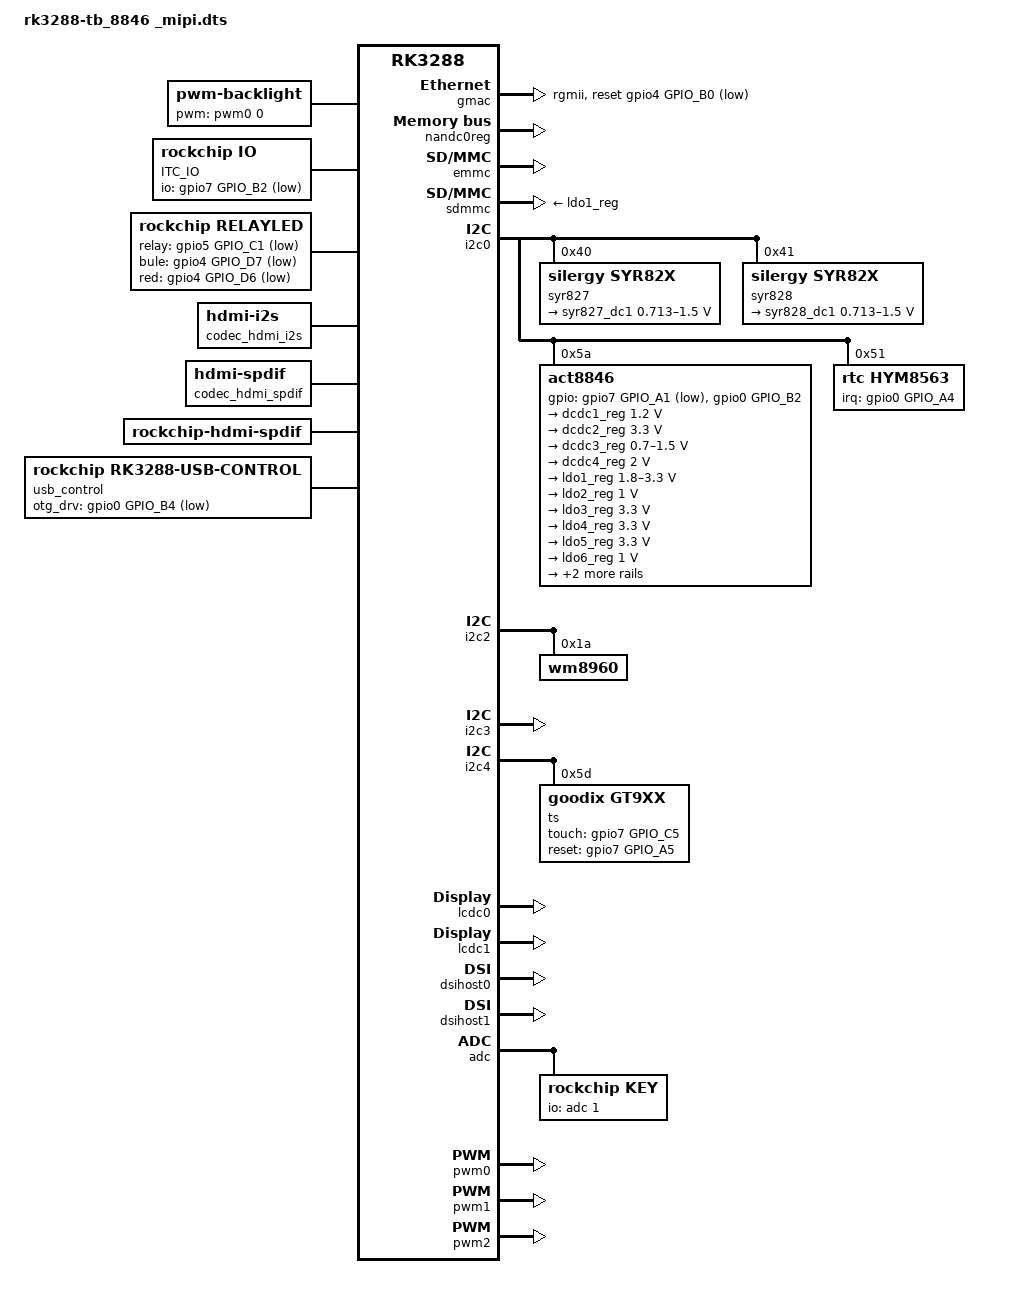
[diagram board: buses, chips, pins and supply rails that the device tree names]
/dts-v1/;

#include "rk3288.dtsi"
#include "lcd-tv101wum-mipi.dtsi"  //for 10.1 mipi
//#include "lcd-HR215WU1-120-lvds.dtsi"
#include "vtl_ts_sdk8846.dtsi"
//#include "lcd-box.dtsi" // for hdmi
#include "rk3288-cif-sensor.dtsi"

/ {
	fiq-debugger {
		status = "okay";
	};

    wireless-wlan {
        compatible = "wlan-platdata";

		wifi_chip_type = "rtl8188eu";

        sdio_vref = <1800>; //1800mv or 3300mv

        //keep_wifi_power_on;

        //power_ctrl_by_pmu;
        power_pmu_regulator = "act_ldo3";
        power_pmu_enable_level = <1>; //1->HIGH, 0->LOW

        //vref_ctrl_enable;
        //vref_ctrl_gpio = <&gpio0 GPIO_A2 GPIO_ACTIVE_HIGH>;
        vref_pmu_regulator = "act_ldo3";
        vref_pmu_enable_level = <1>; //1->HIGH, 0->LOW

        //WIFI,poweren_gpio = <&gpio4 GPIO_D7 GPIO_ACTIVE_HIGH>;
        //WIFI,host_wake_irq = <&gpio4 GPIO_D6 GPIO_ACTIVE_HIGH>;
        //WIFI,reset_gpio = <&gpio0 GPIO_A2 GPIO_ACTIVE_LOW>;

        status = "disabled";
    };

	backlight {
		compatible = "pwm-backlight";
		pwms = <&pwm0 0 1000000>; //for 10.1 mipi
		//pwms = <&pwm0 0 25000>; // for hdmi 
		brightness-levels = <255 254 253 252 251 250 249 248 247 246 245 244 243 242 241 240
		     239 238 237 236 235 234 233 232 231 230 229 228 227 226 225 224 223 222 221 220
		     219 218 217 216 215 214 213 212 211 210 209 208 207 206 205 204 203 202 201 200
		     199 198 197 196 195 194 193 192 191 190 189 188 187 186 185 184 183 182 181 180
		     179 178 177 176 175 174 173 172 171 170 169 168 167 166 165 164 163 162 161 160
		     159 158 157 156 155 154 153 152 151 150 149 148 147 146 145 144 143 142 141 140
		     139 138 137 136 135 134 133 132 131 130 129 128 127 126 125 124 123 122 121 120
		     119 118 117 116 115 114 113 112 111 110 109 108 107 106 105 104 103 102 101 100
		     99 98 97 96 95 94 93 92 91 90 89 88 87 86 85 84 83 82 81 80 79 78 77 76 75 74 73 72 71 70
		     69 68 67 66 65 64 63 62 61 60 59 58 57 56 55 54 53 52 51 50 49 48 47 46 45 44 43 42 41 40
		     39 38 37 36 35 34 33 32 31 30 29 28 27 26 25 24 23 22 21 20 19 18 17 16 15 14 13 12 11 10
		     9 8 7 6 5 4 3 2 1 0>;
		default-brightness-level = <200>;
		//enable-gpios = <&gpio7 GPIO_A0 GPIO_ACTIVE_HIGH>;
	};

  	ITC_IO: itc_io{

  		compatible = "rockchip,IO";
  		pinctrl-names = "default";  
		pinctrl-0 = <&gpio_io_z>;
		io-gpio = <&gpio7 GPIO_B2 GPIO_ACTIVE_LOW>;
  	};

  	RelayLed: relay_led{

  		compatible = "rockchip,RelayLed";
		relay-gpio = <&gpio5 GPIO_C1 GPIO_ACTIVE_LOW>;
		bule-gpio = <&gpio4 GPIO_D7 GPIO_ACTIVE_LOW>;
		red-gpio = <&gpio4 GPIO_D6 GPIO_ACTIVE_LOW>;
  	};
  	
	codec_hdmi_i2s: codec-hdmi-i2s {
		compatible = "hdmi-i2s";
	};

	codec_hdmi_spdif: codec-hdmi-spdif {
		compatible = "hdmi-spdif";
	};

	rockchip-hdmi-i2s {
		compatible = "rockchip-hdmi-i2s";
		dais {
			dai0 {
				audio-codec = <&codec_hdmi_i2s>;
				audio-controller = <&i2s>;
				format = "i2s";
				//continuous-clock;
				//bitclock-inversion;
				//frame-inversion;
				//bitclock-master;
				//frame-master;
			};
		};
	};
	
	rockchip-hdmi-spdif {
		compatible = "rockchip-hdmi-spdif";
		dais {
			dai0 {
				audio-codec = <&codec_hdmi_spdif>;
				audio-controller = <&spdif>;
			};
		};
	};


	//for 10.1 mipi
	rockchip-wm8960 {
		compatible = "rockchip-wm8960";
		dais {
			dai0 {
				audio-codec = <&wm8960>;
				audio-controller = <&i2s>;
				format = "i2s";
				//continuous-clock;
				//bitclock-inversion;
				//frame-inversion;
				//bitclock-master;
				//frame-master;
			};
		};
	};


	usb_control {
		compatible = "rockchip,rk3288-usb-control";

		//host_drv_gpio = <&gpio0 GPIO_B6 GPIO_ACTIVE_LOW>;
		otg_drv_gpio = <&gpio0 GPIO_B4 GPIO_ACTIVE_LOW>;

		rockchip,remote_wakeup;
		rockchip,usb_irq_wakeup;
	};
        chosen {
                bootargs = "vmalloc=512M";
        };
};

&gmac_clkin {
        clock-frequency = <125000000>;
};

&gmac {
//	power_ctl_by = "gpio";	//"gpio" "pmu"
//	power-gpio = <&gpio0 GPIO_A6 GPIO_ACTIVE_HIGH>;
//	power-pmu = "act_ldo"

	//rk3288 for rtl8211EG
	reset-gpio = <&gpio4 GPIO_B0 GPIO_ACTIVE_LOW>;
    phy-mode = "rgmii";
    clock_in_out = "input";
    tx_delay = <0x28>;
	rx_delay = <0x06>;

	status = "okay"; //if want to use gmac, please set "okay"
};

&pinctrl {
	//used for init some gpio
	
	init-gpios = <&gpio0 GPIO_A6 GPIO_ACTIVE_HIGH
			/*&gpio0 GPIO_C2 GPIO_ACTIVE_HIGH */
			/*&gpio7 GPIO_B7 GPIO_ACTIVE_LOW */>;
	
	gpio0_gpio {
			gpio0_c2: gpio0-c2 {
				rockchip,pins = <GPIO0_C2>;
				rockchip,pull = <VALUE_PULL_DOWN>;
			};

			//to add
		};
/*
	gpio7_gpio {

		gpio7_a7: gpio7-a7 {
			rockchip,pins = <GPIO7_A7>;
			rockchip,pull = <VALUE_PULL_DOWN>;
		};
*/

	gpio7_gpio {
			gpio7_b7: gpio7-b7 {
				rockchip,pins = <GPIO7_B7>;
				rockchip,pull = <VALUE_PULL_UP>;
	};

		//to add

		//wjs add
		gpio_io_z: gpio-io1{  

			rockchip,pins = <GPIO7_B2>;
			rockchip,pull = <VALUE_PULL_KEEP>;
			rockchip,tristate = <VALUE_TRI_TRUE>;

    	};

	    gpio7_c5: gpio7-c5 {

	    	rockchip,pins = <GPIO7_C5>;
	    	rockchip,pull = <VALUE_PULL_DISABLE>;
	    	rockchip,drive = <VALUE_DRV_DEFAULT>;
	    };

	    gpio7_a5: gpio7-a5 {

	    	rockchip,pins = <GPIO7_A5>;
	    	rockchip,pull = <VALUE_PULL_UP>;
	    	rockchip,drive = <VALUE_DRV_DEFAULT>;
	    };
	};
		
	//could add other pinctrl definition such as gpio

	// gmac drive strength
	gpio4_gmac {
		mac_clk: mac-clk {
			rockchip,drive = <VALUE_DRV_12MA>;
		};

		mac_txpins: mac-txpins {
			rockchip,drive = <VALUE_DRV_12MA>;
		};

		mac_rxpins: mac-rxpins {
			rockchip,drive = <VALUE_DRV_12MA>;
		};

		mac_crs: mac-crs {
			rockchip,drive = <VALUE_DRV_12MA>;
		};

		mac_mdpins: mac-mdpins {
			rockchip,drive = <VALUE_DRV_12MA>;
		};
	};
};

&nandc0 {
	status = "disabled"; // used nand set "disabled" ,used emmc set "okay"
};
&nandc1 {
	status = "disabled"; // used nand set "disabled" ,used emmc set "okay"
};   

&nandc0reg {
	status = "okay"; // used nand set "disabled" ,used emmc set "okay"
};

&emmc {
	clock-frequency = <100000000>;
	clock-freq-min-max = <400000 100000000>;

    supports-highspeed;
	supports-emmc;
    //supports-sd;
	bootpart-no-access;

	//supports-DDR_MODE; //you should set the two value in your project. only close in RK3288-SDK board.
	//caps2-mmc-hs200;

    ignore-pm-notify;
	keep-power-in-suspend;
	
	//poll-hw-reset 
	status = "okay";
};
    
&sdmmc {
		clock-frequency = <50000000>;
		clock-freq-min-max = <400000 50000000>;
		supports-highspeed;
		supports-sd;
		broken-cd;
		card-detect-delay = <200>;

		ignore-pm-notify;
        keep-power-in-suspend;
	
        vmmc-supply = <&ldo1_reg>;
		status = "okay";
};
		
&sdio {
		clock-frequency = <50000000>;
		clock-freq-min-max = <200000 50000000>;
		supports-highspeed;
		supports-sdio;
		ignore-pm-notify;
		keep-power-in-suspend;
		//cap-sdio-irq;
		status = "disabled";
};

&spi0 {
	status = "disabled";
	max-freq = <48000000>;	
	/*
	spi_test@00 {
 		compatible = "rockchip,spi_test_bus0_cs0";
        reg = <0>;
        spi-max-frequency = <24000000>;
        //spi-cpha;
		//spi-cpol;
        poll_mode = <0>;
        type = <0>;
		enable_dma = <0>;

	};

	spi_test@01 {
        compatible = "rockchip,spi_test_bus0_cs1";
        reg = <1>;
        spi-max-frequency = <24000000>;
        spi-cpha;
		spi-cpol;
        poll_mode = <0>;
        type = <0>;
		enable_dma = <0>;	        
	};
	*/
};

&spi1 {
	status = "disabled";
	max-freq = <48000000>;
	/*
	spi_test@10 {
        compatible = "rockchip,spi_test_bus1_cs0";
        reg = <0>;
        spi-max-frequency = <24000000>;
        //spi-cpha;
		//spi-cpol;
        poll_mode = <0>;
        type = <0>;
		enable_dma = <0>;
	};
	*/
};

&spi2 {
	status = "disabled";
	max-freq = <48000000>;
	/*
	spi_test@20 {
        compatible = "rockchip,spi_test_bus2_cs0";
        reg = <0>;
        spi-max-frequency = <24000000>;
        //spi-cpha;
		//spi-cpol;
        poll_mode = <0>;
        type = <0>;
		enable_dma = <0>;
	};

	spi_test@21 {
        compatible = "rockchip,spi_test_bus2_cs1";
        reg = <1>;
        spi-max-frequency = <24000000>;
        //spi-cpha;
		//spi-cpol;
        poll_mode = <0>;
        type = <0>;
		enable_dma = <0>;
	};
	*/
};

&i2c0 {
	status = "okay";
    syr827: syr827@40 {
		compatible = "silergy,syr82x";
        reg = <0x40>;
		status = "okay";
		regulators {
			#address-cells = <1>;
			#size-cells = <0>;	
			syr827_dc1: regulator@0 {
			reg = <0>;
			regulator-compatible = "syr82x_dcdc1";
			regulator-name = "vdd_arm";
			regulator-min-microvolt = <712500>;
			regulator-max-microvolt = <1500000>;
			regulator-always-on;
			regulator-boot-on;
			regulator-initial-mode = <0x2>;
			regulator-initial-state = <3>;
			regulator-state-mem {
				regulator-state-mode = <0x2>;
				regulator-state-disabled;
				regulator-state-uv = <900000>;
			};
		};
	   };
	};
	syr828: syr828@41 {
		compatible = "silergy,syr82x";
		reg = <0x41>;
		status = "okay";
		regulators {
			#address-cells = <1>;
			#size-cells = <0>;	
			syr828_dc1: regulator@0 {
			reg = <0>;
			regulator-compatible = "syr82x_dcdc1";
			regulator-name = "vdd_gpu";
			regulator-min-microvolt = <712500>;
			regulator-max-microvolt = <1500000>;
			regulator-always-on;
  			regulator-boot-on;
			regulator-initial-mode = <0x2>;
			regulator-initial-state = <3>;
			regulator-state-mem {
				regulator-state-mode = <0x2>;
				regulator-state-enabled;
				regulator-state-uv = <900000>;
			};	
		};
	   };
	};
	act8846: act8846@5a {
		reg = <0x5a>;
		status = "okay";
	};

	rtc@51 {
		compatible = "rtc,hym8563";
		reg = <0x51>;
		irq_gpio = <&gpio0 GPIO_A4 IRQ_TYPE_EDGE_FALLING>;
	};

	/*
	mpu6880_acc:mpu_acc@68{
		compatible = "mpu6880_acc";
		reg = <0x68>;
		irq_enable = <0>;
		poll_delay_ms = <30>;
		type = <SENSOR_TYPE_ACCEL>;
		layout = <7>;
	};
	mpu6880_gyro:mpu_gyro@68{
		compatible = "mpu6880_gyro";
		reg = <0x68>;
		//irq-gpio = <&gpio7 GPIO_B0 IRQ_TYPE_LEVEL_LOW>;
		irq_enable = <0>;
		poll_delay_ms = <30>;
		type = <SENSOR_TYPE_GYROSCOPE>;
		layout = <7>;
	};
	*/
};

&i2c1 {
	status = "disabled";

	rtc@51 {
		compatible = "nxp,pcf8563";
		reg = <0x51>;
	};

	mpu6050:mpu@68{
		compatible = "mpu6050";
		reg = <0x68>;
		mpu-int_config = <0x10>;
		mpu-level_shifter = <0>;
		mpu-orientation = <0 1 0 1 0 0 0 0 1>;	
		orientation-x= <0>;
		orientation-y= <1>;
		orientation-z= <1>;
		irq-gpio = <&gpio8 GPIO_A0 IRQ_TYPE_LEVEL_LOW>;			
		mpu-debug = <0>;
	};

	ak8963:compass@0d{
		compatible = "mpu_ak8963";
		reg = <0x0d>;
		compass-bus = <0>;
		compass-adapt_num = <0>;
		compass-orientation = <1 0 0 0 1 0 0 0 1>;
		orientation-x= <0>;
		orientation-y= <0>;
		orientation-z= <1>;	
		compass-debug = <1>;
		status = "okay";
	};

};

&i2c2 {

	//for 10.1 mipi
	status = "okay";
	wm8960: wm8960@1a {
		compatible = "wm8960";
		reg = <0x1a>;
	};
};

&i2c3 {
	status = "okay";
};

&i2c4 {
	status = "okay";

    //wjs add for 10.1
    ts@5d{
    	compatible = "goodix,gt9xx";
    	reg = <0x5d>;
		pinctrl-names = "default";
		pinctrl-0 = <&gpio7_c5 &gpio7_a5>;
		touch-gpio = <&gpio7 GPIO_C5 IRQ_TYPE_EDGE_FALLING>;
        reset-gpio = <&gpio7 GPIO_A5 GPIO_ACTIVE_HIGH>;

		status = "okay";
    };

};

&i2c5 {
	status = "disabled";
};

&fb {
	// for 10.1 mipi
	rockchip,disp-mode = <DUAL>;
	rockchip,uboot-logo-on = <1>;
/*
	//for hdmi
	rockchip,disp-mode = <DUAL>;
	rockchip,uboot-logo-on = <0>;
	rockchip,disp-policy = <DISPLAY_POLICY_BOX_TEMP>;
*/
};

/*
&disp_timings {
	native-mode = <&timing1>;
};
*/

&rk_screen {
	 display-timings = <&disp_timings>;
};


/*lcdc0 as PRMRY(LCD),lcdc1 as EXTEND(HDMI)*/

&lcdc0 {
	status = "okay";
	rockchip,mirror = <NO_MIRROR>;
	rockchip,cabc_mode = <0>;
	power_ctr: power_ctr {
		rockchip,debug = <0>;
		/*
		lcd_en:lcd_en {
			rockchip,power_type = <GPIO>;
			gpios = <&gpio7 GPIO_A3 GPIO_ACTIVE_HIGH>;
			rockchip,delay = <10>;
		};
		
		lcd_cs:lcd_cs {
			rockchip,power_type = <GPIO>;
			gpios = <&gpio7 GPIO_A4 GPIO_ACTIVE_HIGH>;
			rockchip,delay = <10>;
		};
		*/
		/*lcd_rst:lcd_rst {
			rockchip,power_type = <GPIO>;
			gpios = <&gpio3 GPIO_D6 GPIO_ACTIVE_HIGH>;
			rockchip,delay = <5>;
		};*/

	};
};


&lcdc1 {
	status = "okay";
	rockchip,mirror = <NO_MIRROR>;
};

/*lcdc0 as PRMRY(HDMI)*/
/*
&hdmi {
	status = "okay";
	rockchip,cec_enable = <0>;
	rockchip,hdcp_enable = <0>;
	rockchip,hdmi_video_source = <DISPLAY_SOURCE_LCDC1>;
};
*/

//for 10.1
&dsihost0 {
       status = "okay";
};
//for 10.1
&dsihost1 {
       status = "okay";
};


&adc {
	status = "okay";

	rockchip_headset {
		compatible = "rockchip_headset";
        status = "disabled";

        //wjs delete
		//headset_gpio = <&gpio7 GPIO_B1 GPIO_ACTIVE_HIGH>;

		phone_ctl_gpio = <&gpio0 GPIO_B3 GPIO_ACTIVE_LOW>;
		pinctrl-names = "default";
		//pinctrl-0 = <&gpio7_b1>;
		io-channels = <&adc 2>; 
       /*
               hook_gpio = ;
               hook_down_type = ; //interrupt hook key down status 
		*/       
       };

	key {
		compatible = "rockchip,key";
		io-channels = <&adc 1>;

		vol-up-key {
			linux,code = <115>;
			label = "volume up";
			rockchip,adc_value = <1>;
		};

		vol-down-key {
			linux,code = <114>;
			label = "volume down";
			rockchip,adc_value = <170>;
		};
		
		power-key {
			gpios = <&gpio0 GPIO_A5 GPIO_ACTIVE_LOW>;
			linux,code = <116>;
			label = "power";
			gpio-key,wakeup;
		};
	
		menu-key {
			linux,code = <59>;
			label = "menu";
			rockchip,adc_value = <355>;
		};

		home-key {
			linux,code = <102>;
			label = "home";
			rockchip,adc_value = <746>;
		};

		back-key {
			linux,code = <158>;
			label = "back";
			rockchip,adc_value = <560>;
		};

		camera-key {
			linux,code = <212>;
			label = "camera";
			rockchip,adc_value = <450>;
		};
	};
};

&pwm0 {
    status = "okay";
};

&pwm1 {
	status = "okay";
};

&pwm2 {
	status = "okay";
};

&clk_core_dvfs_table {
	operating-points = <
		/* KHz    uV */
		126000 900000
		216000 900000
		312000 900000
		408000 900000
		600000 900000
		696000 950000
		816000 1000000
		1008000 1050000
		1200000 1100000
		1416000 1200000
		1512000 1300000
		1608000 1350000
	//	1704000 1350000
	//	1800000 1400000
		>;
        support-pvtm = <1>;
        pvtm-operating-points = <
                /* KHz    uV    margin(uV)*/
                126000 900000   25000
                216000 900000   25000
                312000 900000   25000
                408000 900000   25000
                600000 900000   25000
                696000 950000   25000
                816000 1000000  25000
                1008000 1050000 25000
                1200000 1100000 25000
                1416000 1200000 25000
                1512000 1300000 25000
                1608000 1350000 25000
                >;
	status="okay";
};

&clk_gpu_dvfs_table {
	operating-points = <
		/* KHz    uV */
		100000 900000
		200000 900000
		300000 950000
		420000 1050000
		500000 1150000
		>;
	status="okay";
};

&clk_ddr_dvfs_table {
	operating-points = <
		/* KHz    uV */
		200000 1050000
		300000 1050000
		400000 1100000
		533000 1150000
		>;

	freq-table = <
		/*status		freq(KHz)*/
		SYS_STATUS_NORMAL	400000
		SYS_STATUS_SUSPEND	200000
		SYS_STATUS_VIDEO_1080P  240000
		SYS_STATUS_VIDEO_4K     400000
		SYS_STATUS_PERFORMANCE  528000
		SYS_STATUS_DUALVIEW	400000
		SYS_STATUS_BOOST	324000
		SYS_STATUS_ISP		400000
		>;
	bd-freq-table = <
		/* bandwidth   freq */
		5000           800000
		3500           456000
		2600           396000
		2000           324000
	>;
	auto-freq-table = <
		240000
		324000
		396000
		528000
		>;
	auto-freq=<1>;
	/*
	 * 0: use standard flow
	 * 1: vop dclk never divide
	 * 2: vop dclk always divide
	 */
	vop-dclk-mode=<0>;
	status="disabled";
};

/include/ "act8846.dtsi"
&act8846 {
	gpios =<&gpio7 GPIO_A1 GPIO_ACTIVE_LOW>,<&gpio0 GPIO_B2 GPIO_ACTIVE_HIGH>;
	act8846,system-power-controller;

	regulators {
		
		dcdc1_reg: regulator@0{
			regulator-name= "act_dcdc1";
			regulator-min-microvolt = <1200000>;
			regulator-max-microvolt = <1200000>;
			regulator-always-on;
			regulator-boot-on;
		};

		dcdc2_reg: regulator@1 {
			regulator-name= "vccio";
			regulator-min-microvolt = <3300000>;
			regulator-max-microvolt = <3300000>;
			regulator-initial-state = <3>;
			regulator-state-mem {
				regulator-state-enabled;
				regulator-state-uv = <3300000>;
			};		
		};

		dcdc3_reg: regulator@2 {
			regulator-name= "vdd_logic";
			regulator-min-microvolt = <700000>;
			regulator-max-microvolt = <1500000>;
			regulator-initial-state = <3>;
			regulator-state-mem {
				regulator-state-enabled;
				regulator-state-uv = <1000000>;
			};		
		
		};

		dcdc4_reg: regulator@3 {
			regulator-name= "act_dcdc4";
			regulator-min-microvolt = <2000000>;
			regulator-max-microvolt = <2000000>;
				regulator-initial-state = <3>;
			regulator-state-mem {
				regulator-state-enabled;
				regulator-state-uv = <2000000>;
			};
		};

		ldo1_reg: regulator@4 {
			regulator-name= "vccio_sd";
			regulator-min-microvolt = <1800000>;
			regulator-max-microvolt = <3300000>;
			
		};

		ldo2_reg: regulator@5 {
			regulator-name= "act_ldo2";
			regulator-min-microvolt = <1000000>;
			regulator-max-microvolt = <1000000>;
		
		};

		ldo3_reg: regulator@6 {
			regulator-name= "act_ldo3";
			regulator-min-microvolt = <3300000>;
			regulator-max-microvolt = <3300000>;
			
		};

		ldo4_reg:regulator@7 {
			regulator-name= "act_ldo4";
			regulator-min-microvolt = <3300000>;
			regulator-max-microvolt = <3300000>;
		
		};

		ldo5_reg: regulator@8 {
			regulator-name= "act_ldo5";
			regulator-min-microvolt = <3300000>;
			regulator-max-microvolt = <3300000>;
		
		};

		ldo6_reg: regulator@9 {
			regulator-name= "act_ldo6";
			regulator-min-microvolt = <1000000>;
			regulator-max-microvolt = <1000000>;
			regulator-initial-state = <3>;
			regulator-state-mem {
				regulator-state-enabled;
			};
			
		};

		ldo7_reg: regulator@10 {
			regulator-name= "vcc_18";
			regulator-min-microvolt = <1800000>;
			regulator-max-microvolt = <1800000>;
			regulator-initial-state = <3>;
			regulator-state-mem {
				regulator-state-enabled;
			};
		
		};

		ldo8_reg: regulator@11 {
			regulator-name= "act_ldo8";
			regulator-min-microvolt = <1800000>;
			regulator-max-microvolt = <1800000>;
		
		};
	};
};

&lcdc_vdd_domain {
	regulator-name = "vcc30_lcd";
	};
&dpio_vdd_domain{
	regulator-name = "vcc18_cif";	
	};
&flash0_vdd_domain{
	regulator-name = "vcc_flash";	
	};
&flash1_vdd_domain{
	regulator-name = "vcc_flash";			
	};
&apio3_vdd_domain{
	regulator-name = "vccio_wl";		
	};
&apio5_vdd_domain{
	regulator-name = "vccio";		
	};
&apio4_vdd_domain{
	regulator-name = "vccio";		
	};
&apio1_vdd_domain{
	regulator-name = "vccio";			
	};
&apio2_vdd_domain{
	regulator-name = "vccio";		
	};
&sdmmc0_vdd_domain{
	regulator-name = "vcc_sd";			
	};

&dwc_control_usb {
	usb_uart {
		status = "disabled";
	};
};

&rk3288_cif_sensor{
	status = "disabled";
};

